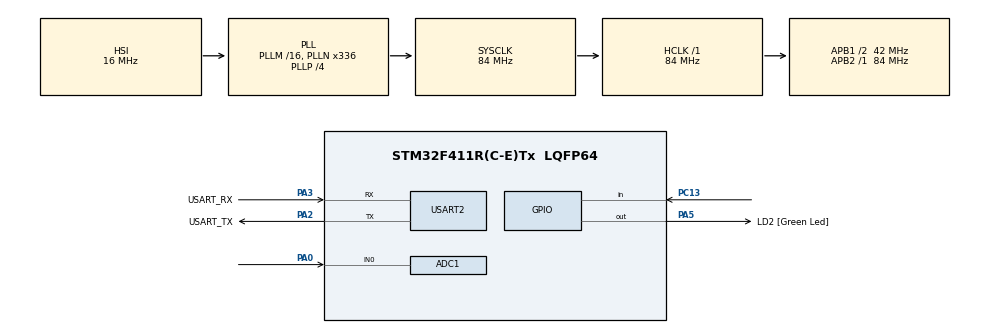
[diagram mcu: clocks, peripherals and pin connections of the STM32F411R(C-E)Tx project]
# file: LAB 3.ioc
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ADC1.Channel-0\#ChannelRegularConversion=ADC_CHANNEL_0
ADC1.NbrOfConversionFlag=1
ADC1.Rank-0\#ChannelRegularConversion=1
ADC1.SamplingTime-0\#ChannelRegularConversion=ADC_SAMPLETIME_3CYCLES
ADC1.master=1
Mcu.Family=STM32F4
Mcu.Name=STM32F411R(C-E)Tx
Mcu.Package=LQFP64
NVIC.PriorityGroup=NVIC_PRIORITYGROUP_0
PA0-WKUP.Signal=ADCx_IN0
PA13.GPIO_Label=TMS
PA13.Mode=Serial_Wire
PA13.Signal=SYS_JTMS-SWDIO
PA14.GPIO_Label=TCK
PA14.Mode=Serial_Wire
PA14.Signal=SYS_JTCK-SWCLK
PA2.GPIO_Label=USART_TX
PA2.Mode=Asynchronous
PA2.Signal=USART2_TX
PA3.GPIO_Label=USART_RX
PA3.Mode=Asynchronous
PA3.Signal=USART2_RX
PA5.GPIO_Label=LD2 [Green Led]
PA5.Signal=GPIO_Output
PB3.GPIO_Label=SWO
PB3.Signal=SYS_JTDO-SWO
PC13-ANTI_TAMP.Signal=GPIO_Input
PC14-OSC32_IN.Mode=LSE-External-Oscillator
PC14-OSC32_IN.Signal=RCC_OSC32_IN
PC15-OSC32_OUT.Mode=LSE-External-Oscillator
PC15-OSC32_OUT.Signal=RCC_OSC32_OUT
PH0\ -\ OSC_IN.Mode=HSE-External-Clock-Source
PH0\ -\ OSC_IN.Signal=RCC_OSC_IN
PH1\ -\ OSC_OUT.Mode=HSE-External-Clock-Source
PH1\ -\ OSC_OUT.Signal=RCC_OSC_OUT
ProjectManager.HeapSize=0x200
ProjectManager.StackSize=0x400
ProjectManager.TargetToolchain=STM32CubeIDE
RCC.48MHZClocksFreq_Value=84000000
RCC.AHBFreq_Value=84000000
RCC.APB1CLKDivider=RCC_HCLK_DIV2
RCC.APB1Freq_Value=42000000
RCC.APB1TimFreq_Value=84000000
RCC.APB2Freq_Value=84000000
RCC.APB2TimFreq_Value=84000000
RCC.CortexFreq_Value=84000000
RCC.FLatency-AdvancedSettings=FLASH_LATENCY_2
RCC.HCLKFreq_Value=84000000
RCC.HSE_VALUE=8000000
RCC.HSI_VALUE=16000000
RCC.PLLN=336
RCC.PLLP=RCC_PLLP_DIV4
RCC.SYSCLKFreq_VALUE=84000000
RCC.SYSCLKSource=RCC_SYSCLKSOURCE_PLLCLK
RCC.VCOOutputFreq_Value=336000000
SH.ADCx_IN0.0=ADC1_IN0,IN0
USART2.VirtualMode=VM_ASYNC
VP_ADC1_TempSens_Input.Mode=IN-TempSens
board=NUCLEO-F411RE

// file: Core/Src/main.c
/* USER CODE BEGIN Header */
/**
  ******************************************************************************
  * @file           : main.c
  * @brief          : Main program body
  ******************************************************************************
  * @attention
  *
  * <h2><center>&copy; Copyright (c) 2021 STMicroelectronics.
  * All rights reserved.</center></h2>
  *
  * This software component is licensed by ST under BSD 3-Clause license,
  * the "License"; You may not use this file except in compliance with the
  * License. You may obtain a copy of the License at:
  *                        opensource.org/licenses/BSD-3-Clause
  *
  ******************************************************************************
  */
/* USER CODE END Header */
#include "main.h"

ADC_HandleTypeDef hadc1;

UART_HandleTypeDef huart2;

/* USER CODE BEGIN PV */
typedef struct
{
	ADC_ChannelConfTypeDef Config;
	uint32_t Data;
} ADCStructure;

ADCStructure ADCChannel[2] = {0};

GPIO_PinState SwitchState[2];
uint16_t ADCMode = 0;
float ADCOutputConverted = 0;
float Vsense = 0;

/* USER CODE END PV */

void SystemClock_Config(void);
static void MX_GPIO_Init(void);
static void MX_USART2_UART_Init(void);
static void MX_ADC1_Init(void);
/* USER CODE BEGIN PFP */

void ADCPollingMethodInit();	//init Config of 2 ADC
void ADCPollingMethodUpdate(); 	//Read ADC From 2 Sources(In0,Temp)

/* USER CODE END PFP */

int main(void)
{

  /* MCU Configuration--------------------------------------------------------*/

  /* Reset of all peripherals, Initializes the Flash interface and the Systick. */
  HAL_Init();

  /* Configure the system clock */
  SystemClock_Config();

  /* Initialize all configured peripherals */
  MX_GPIO_Init();
  MX_USART2_UART_Init();
  MX_ADC1_Init();
  /* USER CODE BEGIN 2 */
  ADCPollingMethodInit();
  /* USER CODE END 2 */

  /* Infinite loop */
  while (1)
  {

    /* USER CODE BEGIN 3 */
	  ADCPollingMethodUpdate();

	  SwitchState[0] = HAL_GPIO_ReadPin(GPIOC, GPIO_PIN_13);
	  if(SwitchState[1] == GPIO_PIN_SET && SwitchState[0] == GPIO_PIN_RESET)
	  {
		  if (ADCMode ==0)
		  {
			  ADCMode = 1;
		  }
		  else
		  {
			  ADCMode = 0;
		  }
	  }
	  SwitchState[1] = SwitchState[0];

	 if (ADCMode == 0)		// value from PA0 in term of mV
	 {
		 // data 12 bit = 4096		// Vin 3.3 V = 3300 mV		//resolution >> Vref/2^bit
		 ADCOutputConverted = ADCChannel[0].Data * 3300 / 4096.0;
	 }
	 if (ADCMode == 1)		// current temp = ((Vsense - V25) / Avg_Slope) + 25 ; V25 = 0.76 V , Avg_Slope = 2.5 mV/C
	 {
		 //Vsense = (ADCChannel[1].Data * 3.3) / 4096;
		 ADCOutputConverted = ((((ADCChannel[1].Data * 3.3) / 4096.0) - 0.76) / 0.0025) + 25;
	 }
  }
  /* USER CODE END 3 */
}

void SystemClock_Config(void)
{
  RCC_OscInitTypeDef RCC_OscInitStruct = {0};
  RCC_ClkInitTypeDef RCC_ClkInitStruct = {0};

  /** Configure the main internal regulator output voltage
  */
  __HAL_RCC_PWR_CLK_ENABLE();
  __HAL_PWR_VOLTAGESCALING_CONFIG(PWR_REGULATOR_VOLTAGE_SCALE1);
  /** Initializes the RCC Oscillators according to the specified parameters
  * in the RCC_OscInitTypeDef structure.
  */
  RCC_OscInitStruct.OscillatorType = RCC_OSCILLATORTYPE_HSI;
  RCC_OscInitStruct.HSIState = RCC_HSI_ON;
  RCC_OscInitStruct.HSICalibrationValue = RCC_HSICALIBRATION_DEFAULT;
  RCC_OscInitStruct.PLL.PLLState = RCC_PLL_ON;
  RCC_OscInitStruct.PLL.PLLSource = RCC_PLLSOURCE_HSI;
  RCC_OscInitStruct.PLL.PLLM = 16;
  RCC_OscInitStruct.PLL.PLLN = 336;
  RCC_OscInitStruct.PLL.PLLP = RCC_PLLP_DIV4;
  RCC_OscInitStruct.PLL.PLLQ = 4;
  if (HAL_RCC_OscConfig(&RCC_OscInitStruct) != HAL_OK)
  {
    Error_Handler();
  }
  /** Initializes the CPU, AHB and APB buses clocks
  */
  RCC_ClkInitStruct.ClockType = RCC_CLOCKTYPE_HCLK|RCC_CLOCKTYPE_SYSCLK
                              |RCC_CLOCKTYPE_PCLK1|RCC_CLOCKTYPE_PCLK2;
  RCC_ClkInitStruct.SYSCLKSource = RCC_SYSCLKSOURCE_PLLCLK;
  RCC_ClkInitStruct.AHBCLKDivider = RCC_SYSCLK_DIV1;
  RCC_ClkInitStruct.APB1CLKDivider = RCC_HCLK_DIV2;
  RCC_ClkInitStruct.APB2CLKDivider = RCC_HCLK_DIV1;

  if (HAL_RCC_ClockConfig(&RCC_ClkInitStruct, FLASH_LATENCY_2) != HAL_OK)
  {
    Error_Handler();
  }
}

static void MX_ADC1_Init(void)
{

  ADC_ChannelConfTypeDef sConfig = {0};

  /** Configure the global features of the ADC (Clock, Resolution, Data Alignment and number of conversion)
  */
  hadc1.Instance = ADC1;
  hadc1.Init.ClockPrescaler = ADC_CLOCK_SYNC_PCLK_DIV4;
  hadc1.Init.Resolution = ADC_RESOLUTION_12B;
  hadc1.Init.ScanConvMode = DISABLE;
  hadc1.Init.ContinuousConvMode = DISABLE;
  hadc1.Init.DiscontinuousConvMode = DISABLE;
  hadc1.Init.ExternalTrigConvEdge = ADC_EXTERNALTRIGCONVEDGE_NONE;
  hadc1.Init.ExternalTrigConv = ADC_SOFTWARE_START;
  hadc1.Init.DataAlign = ADC_DATAALIGN_RIGHT;
  hadc1.Init.NbrOfConversion = 1;
  hadc1.Init.DMAContinuousRequests = DISABLE;
  hadc1.Init.EOCSelection = ADC_EOC_SINGLE_CONV;
  if (HAL_ADC_Init(&hadc1) != HAL_OK)
  {
    Error_Handler();
  }
  /** Configure for the selected ADC regular channel its corresponding rank in the sequencer and its sample time.
  */
  sConfig.Channel = ADC_CHANNEL_0;
  sConfig.Rank = 1;
  sConfig.SamplingTime = ADC_SAMPLETIME_3CYCLES;
  if (HAL_ADC_ConfigChannel(&hadc1, &sConfig) != HAL_OK)
  {
    Error_Handler();
  }

}

static void MX_USART2_UART_Init(void)
{

  huart2.Instance = USART2;
  huart2.Init.BaudRate = 115200;
  huart2.Init.WordLength = UART_WORDLENGTH_8B;
  huart2.Init.StopBits = UART_STOPBITS_1;
  huart2.Init.Parity = UART_PARITY_NONE;
  huart2.Init.Mode = UART_MODE_TX_RX;
  huart2.Init.HwFlowCtl = UART_HWCONTROL_NONE;
  huart2.Init.OverSampling = UART_OVERSAMPLING_16;
  if (HAL_UART_Init(&huart2) != HAL_OK)
  {
    Error_Handler();
  }

}

static void MX_GPIO_Init(void)
{
  GPIO_InitTypeDef GPIO_InitStruct = {0};

  /* GPIO Ports Clock Enable */
  __HAL_RCC_GPIOC_CLK_ENABLE();
  __HAL_RCC_GPIOH_CLK_ENABLE();
  __HAL_RCC_GPIOA_CLK_ENABLE();
  __HAL_RCC_GPIOB_CLK_ENABLE();

  /*Configure GPIO pin Output Level */
  HAL_GPIO_WritePin(LD2_GPIO_Port, LD2_Pin, GPIO_PIN_RESET);

  /*Configure GPIO pin : PC13 */
  GPIO_InitStruct.Pin = GPIO_PIN_13;
  GPIO_InitStruct.Mode = GPIO_MODE_INPUT;
  GPIO_InitStruct.Pull = GPIO_NOPULL;
  HAL_GPIO_Init(GPIOC, &GPIO_InitStruct);

  /*Configure GPIO pin : LD2_Pin */
  GPIO_InitStruct.Pin = LD2_Pin;
  GPIO_InitStruct.Mode = GPIO_MODE_OUTPUT_PP;
  GPIO_InitStruct.Pull = GPIO_NOPULL;
  GPIO_InitStruct.Speed = GPIO_SPEED_FREQ_LOW;
  HAL_GPIO_Init(LD2_GPIO_Port, &GPIO_InitStruct);

}

/* USER CODE BEGIN 4 */

void ADCPollingMethodInit()
{
	//PA0 - ADC IN0
	ADCChannel[0].Config.Channel = ADC_CHANNEL_0;
	ADCChannel[0].Config.Rank = 1;
	ADCChannel[0].Config.SamplingTime = ADC_SAMPLETIME_3CYCLES;

	//Temp
	ADCChannel[1].Config.Channel = ADC_CHANNEL_TEMPSENSOR;
	ADCChannel[1].Config.Rank = 1;
	ADCChannel[1].Config.SamplingTime = ADC_SAMPLETIME_3CYCLES;

}
void ADCPollingMethodUpdate()
{
	for (int i = 0; i < 2; i++)
	{
		//select channel
		HAL_ADC_ConfigChannel(&hadc1, &ADCChannel[i].Config);

		//ADC Sampling, Convert
		HAL_ADC_Start(&hadc1);

		//Wait ADC
		if (HAL_ADC_PollForConversion(&hadc1, 10) == HAL_OK)
		{
			//Get Value
			ADCChannel[i].Data = HAL_ADC_GetValue(&hadc1);
		}

		//Stop
		HAL_ADC_Stop(&hadc1);
	}

}

/* USER CODE END 4 */

void Error_Handler(void)
{
  __disable_irq();
  while (1)
  {
  }
}

/************************ (C) COPYRIGHT STMicroelectronics *****END OF FILE****/
